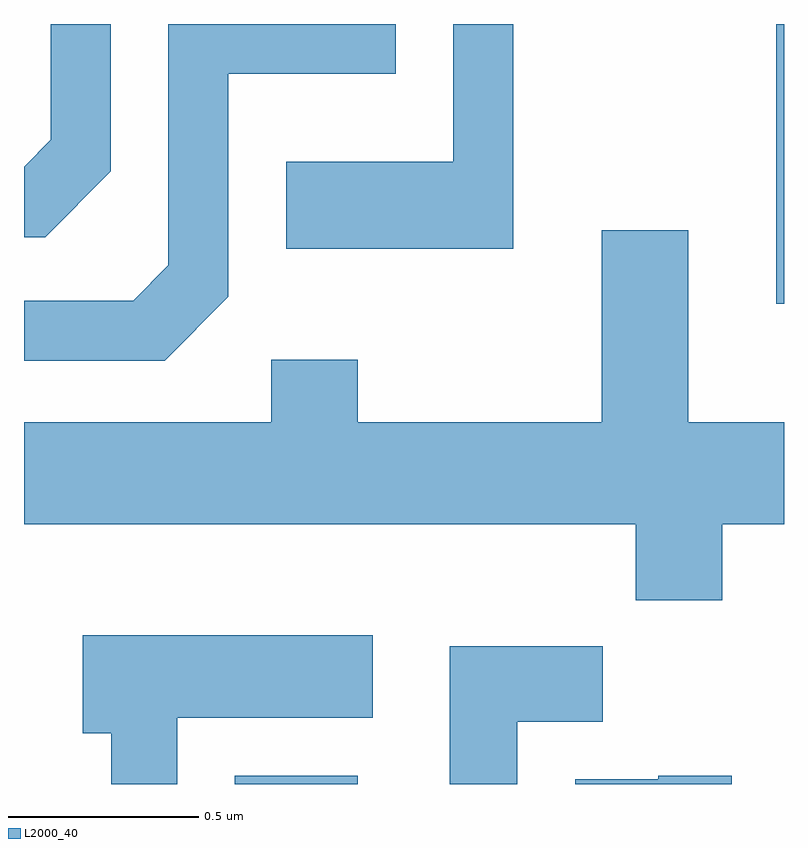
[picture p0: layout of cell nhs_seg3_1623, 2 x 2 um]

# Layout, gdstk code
import gdstk
lib = gdstk.Library(unit=1e-6, precision=1e-09)
def R(c, l, rs):  # rectangles x0, y0, x1, y1
    for r in rs: c.add(gdstk.rectangle(r[:2], r[2:], *l))
def P(c, l, *ps):  # polygons
    for p in ps: c.add(gdstk.Polygon(p, *l))
L2000_40 = (2000, 40)

nhs_seg3_1623 = lib.new_cell('nhs_seg3_1623')
R(nhs_seg3_1623, L2000_40, [(197.166,1231.892,197.489,1231.914), (198.591,1233.156,198.611,1233.892)])
P(nhs_seg3_1623, L2000_40, [(197.899,1233.892),(197.741,1233.892),(197.741,1233.529),(197.301,1233.529),(197.301,1233.301),(197.899,1233.301)],
  [(196.839,1233.504),(196.839,1233.892),(196.681,1233.892),(196.681,1233.587),(196.611,1233.516),(196.611,1233.331),(196.667,1233.331)],
  [(197.149,1233.174),(197.149,1233.761),(197.589,1233.761),(197.589,1233.892),(196.991,1233.892),(196.991,1233.257),(196.899,1233.164),(196.611,1233.164),(196.611,1233.006),(196.982,1233.006)],
  [(198.449,1232.576),(198.611,1232.576),(198.611,1232.844),(198.359,1232.844),(198.359,1233.349),(198.131,1233.349),(198.131,1232.844),(197.489,1232.844),(197.489,1233.009),(197.261,1233.009),(197.261,1232.844),(196.611,1232.844),(196.611,1232.576),(198.221,1232.576),(198.221,1232.376),(198.449,1232.376)],
  [(197.014,1232.066),(197.529,1232.066),(197.529,1232.284),(196.766,1232.284),(196.766,1232.026),(196.841,1232.026),(196.841,1231.892),(197.014,1231.892)],
  [(197.909,1232.056),(198.134,1232.056),(198.134,1232.254),(197.731,1232.254),(197.731,1231.892),(197.909,1231.892)],
  [(198.474,1231.914),(198.28,1231.914),(198.28,1231.904),(198.061,1231.904),(198.061,1231.892),(198.474,1231.892)])

lib.write_gds('nhs_seg3_1623.gds')
